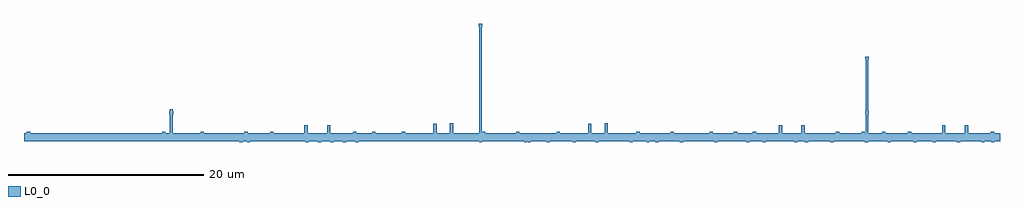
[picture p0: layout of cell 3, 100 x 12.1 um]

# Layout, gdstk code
import gdstk
lib = gdstk.Library(unit=1e-6, precision=1e-09)
def P(c, l, *ps):  # polygons
    for p in ps: c.add(gdstk.Polygon(p, *l))
L0_0 = (0, 0)

c_3 = lib.new_cell('3')
P(c_3, L0_0, [(900,900.88),(1000,900.88),(1000,900.08),(900,900.08),(900,900.88)],
  [(966.24,900.88),(966.24,900.08),(965.58,900.08),(965.58,900.88),(966.24,900.88)],
  [(950.4,900.88),(950.4,900.08),(949.74,900.08),(949.74,900.88),(950.4,900.88)],
  [(918.44,900.88),(919.38,900.88),(919.38,900.08),(915.42,900.08),(915.42,900.88),(918.1,900.88),(918.1,901.055),(918.44,901.055),(918.44,900.88)],
  [(970.58,900.88),(971.52,900.88),(971.52,900.08),(967.56,900.08),(967.56,900.88),(970.24,900.88),(970.24,901.055),(970.58,901.055),(970.58,900.88)],
  [(929.07,901.72),(929.07,900.88),(931.055,900.88),(931.055,901.715),(931.395,901.715),(931.395,900.88),(933.71,900.88),(933.71,901.055),(934.05,901.055),(934.05,900.88),(935.665,900.88),(935.665,901.055),(936.005,901.055),(936.005,900.88),(937.2,900.88),(937.2,900.08),(922.02,900.08),(922.02,900.88),(922.57,900.88),(922.57,901.055),(922.91,901.055),(922.91,900.88),(925.21,900.88),(925.21,901.055),(925.55,901.055),(925.55,900.88),(928.73,900.88),(928.73,901.72),(929.07,901.72)],
  [(986.7,900.88),(987.36,900.88),(987.36,900.08),(986.7,900.08),(986.7,900.88)],
  [(910.8,900.88),(911.46,900.88),(911.46,900.08),(910.8,900.08),(910.8,900.88)],
  [(914.48,900.88),(915.42,900.88),(915.42,900.08),(911.46,900.08),(911.46,900.88),(914.14,900.88),(914.14,901.055),(914.48,901.055),(914.48,900.88)],
  [(927.3,900.88),(927.3,900.08),(925.98,900.08),(925.98,900.88),(927.3,900.88)],
  [(919.38,900.88),(919.38,900.08),(918.06,900.08),(918.06,900.88),(919.38,900.88)],
  [(949.74,900.88),(949.74,900.08),(948.42,900.08),(948.42,900.88),(949.74,900.88)],
  [(900,900.88),(900.28,900.88),(900.28,901.055),(900.62,901.055),(900.62,900.88),(901.56,900.88),(901.56,900.08),(900,900.08),(900,900.88)],
  [(918.06,900.88),(918.06,900.08),(912.78,900.08),(912.78,900.88),(918.06,900.88)],
  [(901.56,900.88),(906.84,900.88),(906.84,900.08),(901.56,900.08),(901.56,900.88)],
  [(978.9,900),(978.9,900.08),(976.01,900.08),(976.01,900),(975.67,900),(975.67,900.08),(974.32,900.08),(974.32,900),(973.98,900),(973.98,900.08),(971.05,900.08),(971.05,900),(970.71,900),(970.71,900.08),(967.55,900.08),(967.55,900),(967.21,900),(967.21,900.08),(966.24,900.08),(966.24,900.88),(979.44,900.88),(979.44,900.08),(979.24,900.08),(979.24,900),(978.9,900)],
  [(979.99,900.88),(983.17,900.88),(983.17,901.055),(983.51,901.055),(983.51,900.88),(985.81,900.88),(985.81,901.055),(986.15,901.055),(986.15,900.88),(986.7,900.88),(986.7,900.08),(971.52,900.08),(971.52,900.88),(972.715,900.88),(972.715,901.055),(973.055,901.055),(973.055,900.88),(974.67,900.88),(974.67,901.055),(975.01,901.055),(975.01,900.88),(977.325,900.88),(977.325,901.715),(977.665,901.715),(977.665,900.88),(979.65,900.88),(979.65,901.72),(979.99,901.72),(979.99,900.88)],
  [(959.82,901.95),(959.82,900.88),(962.75,900.88),(962.75,901.055),(963.09,901.055),(963.09,900.88),(966.25,900.88),(966.25,901.055),(966.59,901.055),(966.59,900.88),(967.56,900.88),(967.56,900.08),(954.36,900.08),(954.36,900.88),(954.56,900.88),(954.56,901.055),(954.9,901.055),(954.9,900.88),(957.79,900.88),(957.79,901.86),(958.13,901.86),(958.13,900.88),(959.48,900.88),(959.48,901.95),(959.82,901.95)],
  [(909.48,900.88),(910.8,900.88),(910.8,900.08),(909.48,900.08),(909.48,900.88)],
  [(922.06,900),(922.06,900.08),(919.38,900.08),(919.38,900.88),(923.34,900.88),(923.34,900.08),(922.4,900.08),(922.4,900),(922.06,900)],
  [(937.2,900.88),(938.52,900.88),(938.52,900.08),(937.2,900.08),(937.2,900.88)],
  [(964.69,900),(964.69,900.08),(962.39,900.08),(962.39,900),(962.05,900),(962.05,900.08),(958.87,900.08),(958.87,900),(958.53,900),(958.53,900.08),(956.545,900.08),(956.545,900),(956.205,900),(956.205,900.08),(953.89,900.08),(953.89,900),(953.55,900),(953.55,900.08),(951.935,900.08),(951.935,900),(951.595,900),(951.595,900.08),(950.4,900.08),(950.4,900.88),(965.58,900.88),(965.58,900.08),(965.03,900.08),(965.03,900),(964.69,900)],
  [(993.085,900),(993.085,900.08),(991.47,900.08),(991.47,900),(991.13,900),(991.13,900.08),(988.815,900.08),(988.815,900),(988.475,900),(988.475,900.08),(986.49,900.08),(986.49,900),(986.15,900),(986.15,900.08),(982.97,900.08),(982.97,900),(982.63,900),(982.63,900.08),(980.33,900.08),(980.33,900),(979.99,900),(979.99,900.08),(979.44,900.08),(979.44,900.88),(994.62,900.88),(994.62,900.08),(993.425,900.08),(993.425,900),(993.085,900)],
  [(948.42,900.88),(948.42,900.08),(937.86,900.08),(937.86,900.88),(948.42,900.88)],
  [(925.98,900.88),(925.98,900.08),(923.34,900.08),(923.34,900.88),(925.98,900.88)],
  [(933.96,900),(933.96,900.08),(933.02,900.08),(933.02,900),(932.68,900),(932.68,900.08),(931.74,900.08),(931.74,900),(931.4,900),(931.4,900.08),(930.46,900.08),(930.46,900),(930.12,900),(930.12,900.08),(929.18,900.08),(929.18,900),(928.84,900),(928.84,900.08),(927.3,900.08),(927.3,900.88),(937.86,900.88),(937.86,900.08),(934.3,900.08),(934.3,900),(933.96,900)],
  [(1000,900.08),(999.43,900.08),(999.43,900),(999.09,900),(999.09,900.08),(995.93,900.08),(995.93,900),(995.59,900),(995.59,900.08),(994.62,900.08),(994.62,900.88),(1000,900.88),(1000,900.08)],
  [(1000,900.08),(987.36,900.08),(987.36,900.88),(987.91,900.88),(987.91,901.055),(988.25,901.055),(988.25,900.88),(990.55,900.88),(990.55,901.055),(990.89,901.055),(990.89,900.88),(994.07,900.88),(994.07,901.72),(994.41,901.72),(994.41,900.88),(996.395,900.88),(996.395,901.715),(996.735,901.715),(996.735,900.88),(999.05,900.88),(999.05,901.055),(999.39,901.055),(999.39,900.88),(1000,900.88),(1000,900.08)],
  [(951.72,900.88),(954.36,900.88),(954.36,900.08),(951.72,900.08),(951.72,900.88)],
  [(919.38,900.88),(922.02,900.88),(922.02,900.08),(919.38,900.08),(919.38,900.88)],
  [(906.84,900.88),(909.48,900.88),(909.48,900.08),(906.84,900.08),(906.84,900.88)],
  [(943.98,901.95),(943.98,900.88),(946.91,900.88),(946.91,901.055),(947.25,901.055),(947.25,900.88),(950.41,900.88),(950.41,901.055),(950.75,901.055),(950.75,900.88),(951.72,900.88),(951.72,900.08),(938.52,900.08),(938.52,900.88),(938.72,900.88),(938.72,901.055),(939.06,901.055),(939.06,900.88),(941.95,900.88),(941.95,901.86),(942.29,901.86),(942.29,900.88),(943.64,900.88),(943.64,901.95),(943.98,901.95)],
  [(900,900.88),(912.78,900.88),(912.78,900.08),(900,900.08),(900,900.88)],
  [(901.56,900.88),(906.84,900.88),(906.84,900.08),(901.56,900.08),(901.56,900.88)],
  [(933.96,900),(933.96,900.08),(933.02,900.08),(933.02,900),(932.68,900),(932.68,900.08),(931.74,900.08),(931.74,900),(931.4,900),(931.4,900.08),(930.46,900.08),(930.46,900),(930.12,900),(930.12,900.08),(929.18,900.08),(929.18,900),(928.84,900),(928.84,900.08),(927.3,900.08),(927.3,900.88),(937.86,900.88),(937.86,900.08),(934.3,900.08),(934.3,900),(933.96,900)],
  [(910.8,900.88),(911.46,900.88),(911.46,900.08),(910.8,900.08),(910.8,900.88)],
  [(914.48,900.88),(915.42,900.88),(915.42,900.08),(911.46,900.08),(911.46,900.88),(914.14,900.88),(914.14,901.055),(914.48,901.055),(914.48,900.88)],
  [(927.3,900.88),(927.3,900.08),(925.98,900.08),(925.98,900.88),(927.3,900.88)],
  [(919.38,900.88),(919.38,900.08),(918.06,900.08),(918.06,900.88),(919.38,900.88)],
  [(909.48,900.88),(910.8,900.88),(910.8,900.08),(909.48,900.08),(909.48,900.88)],
  [(922.06,900),(922.06,900.08),(919.38,900.08),(919.38,900.88),(923.34,900.88),(923.34,900.08),(922.4,900.08),(922.4,900),(922.06,900)],
  [(900,900.88),(900.28,900.88),(900.28,901.055),(900.62,901.055),(900.62,900.88),(901.56,900.88),(901.56,900.08),(900,900.08),(900,900.88)],
  [(918.06,900.88),(918.06,900.08),(912.78,900.08),(912.78,900.88),(918.06,900.88)],
  [(918.44,900.88),(919.38,900.88),(919.38,900.08),(915.42,900.08),(915.42,900.88),(918.1,900.88),(918.1,901.055),(918.44,901.055),(918.44,900.88)],
  [(919.38,900.88),(922.02,900.88),(922.02,900.08),(919.38,900.08),(919.38,900.88)],
  [(906.84,900.88),(909.48,900.88),(909.48,900.08),(906.84,900.08),(906.84,900.88)],
  [(925.98,900.88),(925.98,900.08),(923.34,900.08),(923.34,900.88),(925.98,900.88)],
  [(900,900.88),(912.78,900.88),(912.78,900.08),(900,900.08),(900,900.88)],
  [(929.07,901.72),(929.07,900.88),(931.055,900.88),(931.055,901.715),(931.395,901.715),(931.395,900.88),(933.71,900.88),(933.71,901.055),(934.05,901.055),(934.05,900.88),(935.665,900.88),(935.665,901.055),(936.005,901.055),(936.005,900.88),(937.2,900.88),(937.2,900.08),(922.02,900.08),(922.02,900.88),(922.57,900.88),(922.57,901.055),(922.91,901.055),(922.91,900.88),(925.21,900.88),(925.21,901.055),(925.55,901.055),(925.55,900.88),(928.73,900.88),(928.73,901.72),(929.07,901.72)],
  [(986.7,900.88),(987.36,900.88),(987.36,900.08),(986.7,900.08),(986.7,900.88)],
  [(1000,900.08),(999.43,900.08),(999.43,900),(999.09,900),(999.09,900.08),(995.93,900.08),(995.93,900),(995.59,900),(995.59,900.08),(994.62,900.08),(994.62,900.88),(1000,900.88),(1000,900.08)],
  [(1000,900.08),(987.36,900.08),(987.36,900.88),(987.91,900.88),(987.91,901.055),(988.25,901.055),(988.25,900.88),(990.55,900.88),(990.55,901.055),(990.89,901.055),(990.89,900.88),(994.07,900.88),(994.07,901.72),(994.41,901.72),(994.41,900.88),(996.395,900.88),(996.395,901.715),(996.735,901.715),(996.735,900.88),(999.05,900.88),(999.05,901.055),(999.39,901.055),(999.39,900.88),(1000,900.88),(1000,900.08)],
  [(978.9,900),(978.9,900.08),(976.01,900.08),(976.01,900),(975.67,900),(975.67,900.08),(974.32,900.08),(974.32,900),(973.98,900),(973.98,900.08),(971.05,900.08),(971.05,900),(970.71,900),(970.71,900.08),(967.55,900.08),(967.55,900),(967.21,900),(967.21,900.08),(966.24,900.08),(966.24,900.88),(979.44,900.88),(979.44,900.08),(979.24,900.08),(979.24,900),(978.9,900)],
  [(966.24,900.88),(966.24,900.08),(965.58,900.08),(965.58,900.88),(966.24,900.88)],
  [(959.82,901.95),(959.82,900.88),(962.75,900.88),(962.75,901.055),(963.09,901.055),(963.09,900.88),(966.25,900.88),(966.25,901.055),(966.59,901.055),(966.59,900.88),(967.56,900.88),(967.56,900.08),(954.36,900.08),(954.36,900.88),(954.56,900.88),(954.56,901.055),(954.9,901.055),(954.9,900.88),(957.79,900.88),(957.79,901.86),(958.13,901.86),(958.13,900.88),(959.48,900.88),(959.48,901.95),(959.82,901.95)],
  [(979.99,900.88),(983.17,900.88),(983.17,901.055),(983.51,901.055),(983.51,900.88),(985.81,900.88),(985.81,901.055),(986.15,901.055),(986.15,900.88),(986.7,900.88),(986.7,900.08),(971.52,900.08),(971.52,900.88),(972.715,900.88),(972.715,901.055),(973.055,901.055),(973.055,900.88),(974.67,900.88),(974.67,901.055),(975.01,901.055),(975.01,900.88),(977.325,900.88),(977.325,901.715),(977.665,901.715),(977.665,900.88),(979.65,900.88),(979.65,901.72),(979.99,901.72),(979.99,900.88)],
  [(951.72,900.88),(954.36,900.88),(954.36,900.08),(951.72,900.08),(951.72,900.88)],
  [(964.69,900),(964.69,900.08),(962.39,900.08),(962.39,900),(962.05,900),(962.05,900.08),(958.87,900.08),(958.87,900),(958.53,900),(958.53,900.08),(956.545,900.08),(956.545,900),(956.205,900),(956.205,900.08),(953.89,900.08),(953.89,900),(953.55,900),(953.55,900.08),(951.935,900.08),(951.935,900),(951.595,900),(951.595,900.08),(950.4,900.08),(950.4,900.88),(965.58,900.88),(965.58,900.08),(965.03,900.08),(965.03,900),(964.69,900)],
  [(993.085,900),(993.085,900.08),(991.47,900.08),(991.47,900),(991.13,900),(991.13,900.08),(988.815,900.08),(988.815,900),(988.475,900),(988.475,900.08),(986.49,900.08),(986.49,900),(986.15,900),(986.15,900.08),(982.97,900.08),(982.97,900),(982.63,900),(982.63,900.08),(980.33,900.08),(980.33,900),(979.99,900),(979.99,900.08),(979.44,900.08),(979.44,900.88),(994.62,900.88),(994.62,900.08),(993.425,900.08),(993.425,900),(993.085,900)],
  [(943.98,901.95),(943.98,900.88),(946.91,900.88),(946.91,901.055),(947.25,901.055),(947.25,900.88),(950.41,900.88),(950.41,901.055),(950.75,901.055),(950.75,900.88),(951.72,900.88),(951.72,900.08),(938.52,900.08),(938.52,900.88),(938.72,900.88),(938.72,901.055),(939.06,901.055),(939.06,900.88),(941.95,900.88),(941.95,901.86),(942.29,901.86),(942.29,900.88),(943.64,900.88),(943.64,901.95),(943.98,901.95)],
  [(970.58,900.88),(971.52,900.88),(971.52,900.08),(967.56,900.08),(967.56,900.88),(970.24,900.88),(970.24,901.055),(970.58,901.055),(970.58,900.88)],
  [(901.56,900.88),(906.84,900.88),(906.84,900.08),(901.56,900.08),(901.56,900.88)],
  [(910.8,900.88),(911.46,900.88),(911.46,900.08),(910.8,900.08),(910.8,900.88)],
  [(914.48,900.88),(915.42,900.88),(915.42,900.08),(911.46,900.08),(911.46,900.88),(914.14,900.88),(914.14,901.055),(914.48,901.055),(914.48,900.88)],
  [(909.48,900.88),(910.8,900.88),(910.8,900.08),(909.48,900.08),(909.48,900.88)],
  [(900,900.88),(900.28,900.88),(900.28,901.055),(900.62,901.055),(900.62,900.88),(901.56,900.88),(901.56,900.08),(900,900.08),(900,900.88)],
  [(918.06,900.88),(918.06,900.08),(912.78,900.08),(912.78,900.88),(918.06,900.88)],
  [(906.84,900.88),(909.48,900.88),(909.48,900.08),(906.84,900.08),(906.84,900.88)],
  [(900,900.88),(912.78,900.88),(912.78,900.08),(900,900.08),(900,900.88)],
  [(901.56,900.88),(906.84,900.88),(906.84,900.08),(901.56,900.08),(901.56,900.88)],
  [(910.8,900.88),(911.46,900.88),(911.46,900.08),(910.8,900.08),(910.8,900.88)],
  [(909.48,900.88),(910.8,900.88),(910.8,900.08),(909.48,900.08),(909.48,900.88)],
  [(900,900.88),(900.28,900.88),(900.28,901.055),(900.62,901.055),(900.62,900.88),(901.56,900.88),(901.56,900.08),(900,900.08),(900,900.88)],
  [(918.06,900.88),(918.06,900.08),(912.78,900.08),(912.78,900.88),(918.06,900.88)],
  [(906.84,900.88),(909.48,900.88),(909.48,900.08),(906.84,900.08),(906.84,900.88)],
  [(900,900.88),(912.78,900.88),(912.78,900.08),(900,900.08),(900,900.88)],
  [(933.96,900),(933.96,900.08),(933.02,900.08),(933.02,900),(932.68,900),(932.68,900.08),(931.74,900.08),(931.74,900),(931.4,900),(931.4,900.08),(930.46,900.08),(930.46,900),(930.12,900),(930.12,900.08),(929.18,900.08),(929.18,900),(928.84,900),(928.84,900.08),(927.3,900.08),(927.3,900.88),(937.86,900.88),(937.86,900.08),(934.3,900.08),(934.3,900),(933.96,900)],
  [(927.3,900.88),(927.3,900.08),(925.98,900.08),(925.98,900.88),(927.3,900.88)],
  [(919.38,900.88),(919.38,900.08),(918.06,900.08),(918.06,900.88),(919.38,900.88)],
  [(937.2,900.88),(938.52,900.88),(938.52,900.08),(937.2,900.08),(937.2,900.88)],
  [(922.06,900),(922.06,900.08),(919.38,900.08),(919.38,900.88),(923.34,900.88),(923.34,900.08),(922.4,900.08),(922.4,900),(922.06,900)],
  [(919.38,900.88),(922.02,900.88),(922.02,900.08),(919.38,900.08),(919.38,900.88)],
  [(925.98,900.88),(925.98,900.08),(923.34,900.08),(923.34,900.88),(925.98,900.88)],
  [(948.42,900.88),(948.42,900.08),(937.86,900.08),(937.86,900.88),(948.42,900.88)],
  [(929.07,901.72),(929.07,900.88),(931.055,900.88),(931.055,901.715),(931.395,901.715),(931.395,900.88),(933.71,900.88),(933.71,901.055),(934.05,901.055),(934.05,900.88),(935.665,900.88),(935.665,901.055),(936.005,901.055),(936.005,900.88),(937.2,900.88),(937.2,900.08),(922.02,900.08),(922.02,900.88),(922.57,900.88),(922.57,901.055),(922.91,901.055),(922.91,900.88),(925.21,900.88),(925.21,901.055),(925.55,901.055),(925.55,900.88),(928.73,900.88),(928.73,901.72),(929.07,901.72)],
  [(986.7,900.88),(987.36,900.88),(987.36,900.08),(986.7,900.08),(986.7,900.88)],
  [(1000,900.08),(999.43,900.08),(999.43,900),(999.09,900),(999.09,900.08),(995.93,900.08),(995.93,900),(995.59,900),(995.59,900.08),(994.62,900.08),(994.62,900.88),(1000,900.88),(1000,900.08)],
  [(1000,900.08),(987.36,900.08),(987.36,900.88),(987.91,900.88),(987.91,901.055),(988.25,901.055),(988.25,900.88),(990.55,900.88),(990.55,901.055),(990.89,901.055),(990.89,900.88),(994.07,900.88),(994.07,901.72),(994.41,901.72),(994.41,900.88),(996.395,900.88),(996.395,901.715),(996.735,901.715),(996.735,900.88),(999.05,900.88),(999.05,901.055),(999.39,901.055),(999.39,900.88),(1000,900.88),(1000,900.08)],
  [(978.9,900),(978.9,900.08),(976.01,900.08),(976.01,900),(975.67,900),(975.67,900.08),(974.32,900.08),(974.32,900),(973.98,900),(973.98,900.08),(971.05,900.08),(971.05,900),(970.71,900),(970.71,900.08),(967.55,900.08),(967.55,900),(967.21,900),(967.21,900.08),(966.24,900.08),(966.24,900.88),(979.44,900.88),(979.44,900.08),(979.24,900.08),(979.24,900),(978.9,900)],
  [(966.24,900.88),(966.24,900.08),(965.58,900.08),(965.58,900.88),(966.24,900.88)],
  [(959.82,901.95),(959.82,900.88),(962.75,900.88),(962.75,901.055),(963.09,901.055),(963.09,900.88),(966.25,900.88),(966.25,901.055),(966.59,901.055),(966.59,900.88),(967.56,900.88),(967.56,900.08),(954.36,900.08),(954.36,900.88),(954.56,900.88),(954.56,901.055),(954.9,901.055),(954.9,900.88),(957.79,900.88),(957.79,901.86),(958.13,901.86),(958.13,900.88),(959.48,900.88),(959.48,901.95),(959.82,901.95)],
  [(979.99,900.88),(983.17,900.88),(983.17,901.055),(983.51,901.055),(983.51,900.88),(985.81,900.88),(985.81,901.055),(986.15,901.055),(986.15,900.88),(986.7,900.88),(986.7,900.08),(971.52,900.08),(971.52,900.88),(972.715,900.88),(972.715,901.055),(973.055,901.055),(973.055,900.88),(974.67,900.88),(974.67,901.055),(975.01,901.055),(975.01,900.88),(977.325,900.88),(977.325,901.715),(977.665,901.715),(977.665,900.88),(979.65,900.88),(979.65,901.72),(979.99,901.72),(979.99,900.88)],
  [(951.72,900.88),(954.36,900.88),(954.36,900.08),(951.72,900.08),(951.72,900.88)],
  [(964.69,900),(964.69,900.08),(962.39,900.08),(962.39,900),(962.05,900),(962.05,900.08),(958.87,900.08),(958.87,900),(958.53,900),(958.53,900.08),(956.545,900.08),(956.545,900),(956.205,900),(956.205,900.08),(953.89,900.08),(953.89,900),(953.55,900),(953.55,900.08),(951.935,900.08),(951.935,900),(951.595,900),(951.595,900.08),(950.4,900.08),(950.4,900.88),(965.58,900.88),(965.58,900.08),(965.03,900.08),(965.03,900),(964.69,900)],
  [(993.085,900),(993.085,900.08),(991.47,900.08),(991.47,900),(991.13,900),(991.13,900.08),(988.815,900.08),(988.815,900),(988.475,900),(988.475,900.08),(986.49,900.08),(986.49,900),(986.15,900),(986.15,900.08),(982.97,900.08),(982.97,900),(982.63,900),(982.63,900.08),(980.33,900.08),(980.33,900),(979.99,900),(979.99,900.08),(979.44,900.08),(979.44,900.88),(994.62,900.88),(994.62,900.08),(993.425,900.08),(993.425,900),(993.085,900)],
  [(943.98,901.95),(943.98,900.88),(946.91,900.88),(946.91,901.055),(947.25,901.055),(947.25,900.88),(950.41,900.88),(950.41,901.055),(950.75,901.055),(950.75,900.88),(951.72,900.88),(951.72,900.08),(938.52,900.08),(938.52,900.88),(938.72,900.88),(938.72,901.055),(939.06,901.055),(939.06,900.88),(941.95,900.88),(941.95,901.86),(942.29,901.86),(942.29,900.88),(943.64,900.88),(943.64,901.95),(943.98,901.95)],
  [(986.7,900.88),(987.36,900.88),(987.36,900.08),(986.7,900.08),(986.7,900.88)],
  [(1000,900.08),(999.43,900.08),(999.43,900),(999.09,900),(999.09,900.08),(995.93,900.08),(995.93,900),(995.59,900),(995.59,900.08),(994.62,900.08),(994.62,900.88),(1000,900.88),(1000,900.08)],
  [(1000,900.08),(987.36,900.08),(987.36,900.88),(987.91,900.88),(987.91,901.055),(988.25,901.055),(988.25,900.88),(990.55,900.88),(990.55,901.055),(990.89,901.055),(990.89,900.88),(994.07,900.88),(994.07,901.72),(994.41,901.72),(994.41,900.88),(996.395,900.88),(996.395,901.715),(996.735,901.715),(996.735,900.88),(999.05,900.88),(999.05,901.055),(999.39,901.055),(999.39,900.88),(1000,900.88),(1000,900.08)],
  [(979.99,900.88),(983.17,900.88),(983.17,901.055),(983.51,901.055),(983.51,900.88),(985.81,900.88),(985.81,901.055),(986.15,901.055),(986.15,900.88),(986.7,900.88),(986.7,900.08),(971.52,900.08),(971.52,900.88),(972.715,900.88),(972.715,901.055),(973.055,901.055),(973.055,900.88),(974.67,900.88),(974.67,901.055),(975.01,901.055),(975.01,900.88),(977.325,900.88),(977.325,901.715),(977.665,901.715),(977.665,900.88),(979.65,900.88),(979.65,901.72),(979.99,901.72),(979.99,900.88)],
  [(993.085,900),(993.085,900.08),(991.47,900.08),(991.47,900),(991.13,900),(991.13,900.08),(988.815,900.08),(988.815,900),(988.475,900),(988.475,900.08),(986.49,900.08),(986.49,900),(986.15,900),(986.15,900.08),(982.97,900.08),(982.97,900),(982.63,900),(982.63,900.08),(980.33,900.08),(980.33,900),(979.99,900),(979.99,900.08),(979.44,900.08),(979.44,900.88),(994.62,900.88),(994.62,900.08),(993.425,900.08),(993.425,900),(993.085,900)],
  [(949.74,900.88),(949.74,900.08),(948.42,900.08),(948.42,900.88),(949.74,900.88)],
  [(937.2,900.88),(938.52,900.88),(938.52,900.08),(937.2,900.08),(937.2,900.88)],
  [(959.82,901.95),(959.82,900.88),(962.75,900.88),(962.75,901.055),(963.09,901.055),(963.09,900.88),(966.25,900.88),(966.25,901.055),(966.59,901.055),(966.59,900.88),(967.56,900.88),(967.56,900.08),(954.36,900.08),(954.36,900.88),(954.56,900.88),(954.56,901.055),(954.9,901.055),(954.9,900.88),(957.79,900.88),(957.79,901.86),(958.13,901.86),(958.13,900.88),(959.48,900.88),(959.48,901.95),(959.82,901.95)],
  [(950.4,900.88),(950.4,900.08),(949.74,900.08),(949.74,900.88),(950.4,900.88)],
  [(966.24,900.88),(966.24,900.08),(965.58,900.08),(965.58,900.88),(966.24,900.88)],
  [(951.72,900.88),(954.36,900.88),(954.36,900.08),(951.72,900.08),(951.72,900.88)],
  [(964.69,900),(964.69,900.08),(962.39,900.08),(962.39,900),(962.05,900),(962.05,900.08),(958.87,900.08),(958.87,900),(958.53,900),(958.53,900.08),(956.545,900.08),(956.545,900),(956.205,900),(956.205,900.08),(953.89,900.08),(953.89,900),(953.55,900),(953.55,900.08),(951.935,900.08),(951.935,900),(951.595,900),(951.595,900.08),(950.4,900.08),(950.4,900.88),(965.58,900.88),(965.58,900.08),(965.03,900.08),(965.03,900),(964.69,900)],
  [(948.42,900.88),(948.42,900.08),(937.86,900.08),(937.86,900.88),(948.42,900.88)],
  [(943.98,901.95),(943.98,900.88),(946.91,900.88),(946.91,901.055),(947.25,901.055),(947.25,900.88),(950.41,900.88),(950.41,901.055),(950.75,901.055),(950.75,900.88),(951.72,900.88),(951.72,900.08),(938.52,900.08),(938.52,900.88),(938.72,900.88),(938.72,901.055),(939.06,901.055),(939.06,900.88),(941.95,900.88),(941.95,901.86),(942.29,901.86),(942.29,900.88),(943.64,900.88),(943.64,901.95),(943.98,901.95)],
  [(933.96,900),(933.96,900.08),(933.02,900.08),(933.02,900),(932.68,900),(932.68,900.08),(931.74,900.08),(931.74,900),(931.4,900),(931.4,900.08),(930.46,900.08),(930.46,900),(930.12,900),(930.12,900.08),(929.18,900.08),(929.18,900),(928.84,900),(928.84,900.08),(927.3,900.08),(927.3,900.88),(937.86,900.88),(937.86,900.08),(934.3,900.08),(934.3,900),(933.96,900)],
  [(949.74,900.88),(949.74,900.08),(948.42,900.08),(948.42,900.88),(949.74,900.88)],
  [(927.3,900.88),(927.3,900.08),(925.98,900.08),(925.98,900.88),(927.3,900.88)],
  [(966.24,900.88),(966.24,900.08),(965.58,900.08),(965.58,900.88),(966.24,900.88)],
  [(937.2,900.88),(938.52,900.88),(938.52,900.08),(937.2,900.08),(937.2,900.88)],
  [(950.4,900.88),(950.4,900.08),(949.74,900.08),(949.74,900.88),(950.4,900.88)],
  [(951.72,900.88),(954.36,900.88),(954.36,900.08),(951.72,900.08),(951.72,900.88)],
  [(964.69,900),(964.69,900.08),(962.39,900.08),(962.39,900),(962.05,900),(962.05,900.08),(958.87,900.08),(958.87,900),(958.53,900),(958.53,900.08),(956.545,900.08),(956.545,900),(956.205,900),(956.205,900.08),(953.89,900.08),(953.89,900),(953.55,900),(953.55,900.08),(951.935,900.08),(951.935,900),(951.595,900),(951.595,900.08),(950.4,900.08),(950.4,900.88),(965.58,900.88),(965.58,900.08),(965.03,900.08),(965.03,900),(964.69,900)],
  [(948.42,900.88),(948.42,900.08),(937.86,900.08),(937.86,900.88),(948.42,900.88)],
  [(943.98,901.95),(943.98,900.88),(946.91,900.88),(946.91,901.055),(947.25,901.055),(947.25,900.88),(950.41,900.88),(950.41,901.055),(950.75,901.055),(950.75,900.88),(951.72,900.88),(951.72,900.08),(938.52,900.08),(938.52,900.88),(938.72,900.88),(938.72,901.055),(939.06,901.055),(939.06,900.88),(941.95,900.88),(941.95,901.86),(942.29,901.86),(942.29,900.88),(943.64,900.88),(943.64,901.95),(943.98,901.95)],
  [(929.07,901.72),(929.07,900.88),(931.055,900.88),(931.055,901.715),(931.395,901.715),(931.395,900.88),(933.71,900.88),(933.71,901.055),(934.05,901.055),(934.05,900.88),(935.665,900.88),(935.665,901.055),(936.005,901.055),(936.005,900.88),(937.2,900.88),(937.2,900.08),(922.02,900.08),(922.02,900.88),(922.57,900.88),(922.57,901.055),(922.91,901.055),(922.91,900.88),(925.21,900.88),(925.21,901.055),(925.55,901.055),(925.55,900.88),(928.73,900.88),(928.73,901.72),(929.07,901.72)],
  [(901.56,900.88),(906.84,900.88),(906.84,900.08),(901.56,900.08),(901.56,900.88)],
  [(910.8,900.88),(911.46,900.88),(911.46,900.08),(910.8,900.08),(910.8,900.88)],
  [(909.48,900.88),(910.8,900.88),(910.8,900.08),(909.48,900.08),(909.48,900.88)],
  [(918.06,900.88),(918.06,900.08),(912.78,900.08),(912.78,900.88),(918.06,900.88)],
  [(906.84,900.88),(909.48,900.88),(909.48,900.08),(906.84,900.08),(906.84,900.88)],
  [(900,900.88),(912.78,900.88),(912.78,900.08),(900,900.08),(900,900.88)],
  [(933.96,900),(933.96,900.08),(933.02,900.08),(933.02,900),(932.68,900),(932.68,900.08),(931.74,900.08),(931.74,900),(931.4,900),(931.4,900.08),(930.46,900.08),(930.46,900),(930.12,900),(930.12,900.08),(929.18,900.08),(929.18,900),(928.84,900),(928.84,900.08),(927.3,900.08),(927.3,900.88),(937.86,900.88),(937.86,900.08),(934.3,900.08),(934.3,900),(933.96,900)],
  [(927.3,900.88),(927.3,900.08),(925.98,900.08),(925.98,900.88),(927.3,900.88)],
  [(919.38,900.88),(919.38,900.08),(918.06,900.08),(918.06,900.88),(919.38,900.88)],
  [(937.2,900.88),(938.52,900.88),(938.52,900.08),(937.2,900.08),(937.2,900.88)],
  [(919.38,900.88),(922.02,900.88),(922.02,900.08),(919.38,900.08),(919.38,900.88)],
  [(948.42,900.88),(948.42,900.08),(937.86,900.08),(937.86,900.88),(948.42,900.88)],
  [(929.07,901.72),(929.07,900.88),(931.055,900.88),(931.055,901.715),(931.395,901.715),(931.395,900.88),(933.71,900.88),(933.71,901.055),(934.05,901.055),(934.05,900.88),(935.665,900.88),(935.665,901.055),(936.005,901.055),(936.005,900.88),(937.2,900.88),(937.2,900.08),(922.02,900.08),(922.02,900.88),(922.57,900.88),(922.57,901.055),(922.91,901.055),(922.91,900.88),(925.21,900.88),(925.21,901.055),(925.55,901.055),(925.55,900.88),(928.73,900.88),(928.73,901.72),(929.07,901.72)],
  [(925.98,900.88),(925.98,900.08),(923.34,900.08),(923.34,900.88),(925.98,900.88)],
  [(964.69,900),(964.69,900.08),(962.39,900.08),(962.39,900),(962.05,900),(962.05,900.08),(958.87,900.08),(958.87,900),(958.53,900),(958.53,900.08),(956.545,900.08),(956.545,900),(956.205,900),(956.205,900.08),(953.89,900.08),(953.89,900),(953.55,900),(953.55,900.08),(951.935,900.08),(951.935,900),(951.595,900),(951.595,900.08),(950.4,900.08),(950.4,900.88),(965.58,900.88),(965.58,900.08),(965.03,900.08),(965.03,900),(964.69,900)],
  [(951.72,900.88),(954.36,900.88),(954.36,900.08),(951.72,900.08),(951.72,900.88)],
  [(933.96,900),(933.96,900.08),(933.02,900.08),(933.02,900),(932.68,900),(932.68,900.08),(931.74,900.08),(931.74,900),(931.4,900),(931.4,900.08),(930.46,900.08),(930.46,900),(930.12,900),(930.12,900.08),(929.18,900.08),(929.18,900),(928.84,900),(928.84,900.08),(927.3,900.08),(927.3,900.88),(937.86,900.88),(937.86,900.08),(934.3,900.08),(934.3,900),(933.96,900)],
  [(927.3,900.88),(927.3,900.08),(925.98,900.08),(925.98,900.88),(927.3,900.88)],
  [(919.38,900.88),(919.38,900.08),(918.06,900.08),(918.06,900.88),(919.38,900.88)],
  [(937.2,900.88),(938.52,900.88),(938.52,900.08),(937.2,900.08),(937.2,900.88)],
  [(919.38,900.88),(922.02,900.88),(922.02,900.08),(919.38,900.08),(919.38,900.88)],
  [(948.42,900.88),(948.42,900.08),(937.86,900.08),(937.86,900.88),(948.42,900.88)],
  [(929.07,901.72),(929.07,900.88),(931.055,900.88),(931.055,901.715),(931.395,901.715),(931.395,900.88),(933.71,900.88),(933.71,901.055),(934.05,901.055),(934.05,900.88),(935.665,900.88),(935.665,901.055),(936.005,901.055),(936.005,900.88),(937.2,900.88),(937.2,900.08),(922.02,900.08),(922.02,900.88),(922.57,900.88),(922.57,901.055),(922.91,901.055),(922.91,900.88),(925.21,900.88),(925.21,901.055),(925.55,901.055),(925.55,900.88),(928.73,900.88),(928.73,901.72),(929.07,901.72)],
  [(933.96,900),(933.96,900.08),(933.02,900.08),(933.02,900),(932.68,900),(932.68,900.08),(931.74,900.08),(931.74,900),(931.4,900),(931.4,900.08),(930.46,900.08),(930.46,900),(930.12,900),(930.12,900.08),(929.18,900.08),(929.18,900),(928.84,900),(928.84,900.08),(927.3,900.08),(927.3,900.88),(937.86,900.88),(937.86,900.08),(934.3,900.08),(934.3,900),(933.96,900)],
  [(927.3,900.88),(927.3,900.08),(925.98,900.08),(925.98,900.88),(927.3,900.88)],
  [(937.2,900.88),(938.52,900.88),(938.52,900.08),(937.2,900.08),(937.2,900.88)],
  [(948.42,900.88),(948.42,900.08),(937.86,900.08),(937.86,900.88),(948.42,900.88)],
  [(929.07,901.72),(929.07,900.88),(931.055,900.88),(931.055,901.715),(931.395,901.715),(931.395,900.88),(933.71,900.88),(933.71,901.055),(934.05,901.055),(934.05,900.88),(935.665,900.88),(935.665,901.055),(936.005,901.055),(936.005,900.88),(937.2,900.88),(937.2,900.08),(922.02,900.08),(922.02,900.88),(922.57,900.88),(922.57,901.055),(922.91,901.055),(922.91,900.88),(925.21,900.88),(925.21,901.055),(925.55,901.055),(925.55,900.88),(928.73,900.88),(928.73,901.72),(929.07,901.72)],
  [(937.2,900.88),(938.52,900.88),(938.52,900.08),(937.2,900.08),(937.2,900.88)],
  [(948.42,900.88),(948.42,900.08),(937.86,900.08),(937.86,900.88),(948.42,900.88)],
  [(933.96,900),(933.96,900.08),(933.02,900.08),(933.02,900),(932.68,900),(932.68,900.08),(931.74,900.08),(931.74,900),(931.4,900),(931.4,900.08),(930.46,900.08),(930.46,900),(930.12,900),(930.12,900.08),(929.18,900.08),(929.18,900),(928.84,900),(928.84,900.08),(927.3,900.08),(927.3,900.88),(937.86,900.88),(937.86,900.08),(934.3,900.08),(934.3,900),(933.96,900)],
  [(929.07,901.72),(929.07,900.88),(931.055,900.88),(931.055,901.715),(931.395,901.715),(931.395,900.88),(933.71,900.88),(933.71,901.055),(934.05,901.055),(934.05,900.88),(935.665,900.88),(935.665,901.055),(936.005,901.055),(936.005,900.88),(937.2,900.88),(937.2,900.08),(922.02,900.08),(922.02,900.88),(922.57,900.88),(922.57,901.055),(922.91,901.055),(922.91,900.88),(925.21,900.88),(925.21,901.055),(925.55,901.055),(925.55,900.88),(928.73,900.88),(928.73,901.72),(929.07,901.72)],
  [(948.42,900.88),(948.42,900.08),(937.86,900.08),(937.86,900.88),(948.42,900.88)],
  [(933.96,900),(933.96,900.08),(933.02,900.08),(933.02,900),(932.68,900),(932.68,900.08),(931.74,900.08),(931.74,900),(931.4,900),(931.4,900.08),(930.46,900.08),(930.46,900),(930.12,900),(930.12,900.08),(929.18,900.08),(929.18,900),(928.84,900),(928.84,900.08),(927.3,900.08),(927.3,900.88),(937.86,900.88),(937.86,900.08),(934.3,900.08),(934.3,900),(933.96,900)],
  [(964.69,900),(964.69,900.08),(962.39,900.08),(962.39,900),(962.05,900),(962.05,900.08),(958.87,900.08),(958.87,900),(958.53,900),(958.53,900.08),(956.545,900.08),(956.545,900),(956.205,900),(956.205,900.08),(953.89,900.08),(953.89,900),(953.55,900),(953.55,900.08),(951.935,900.08),(951.935,900),(951.595,900),(951.595,900.08),(950.4,900.08),(950.4,900.88),(965.58,900.88),(965.58,900.08),(965.03,900.08),(965.03,900),(964.69,900)],
  [(966.24,900.88),(966.24,900.08),(965.58,900.08),(965.58,900.88),(966.24,900.88)],
  [(979.99,900.88),(983.17,900.88),(983.17,901.055),(983.51,901.055),(983.51,900.88),(985.81,900.88),(985.81,901.055),(986.15,901.055),(986.15,900.88),(986.7,900.88),(986.7,900.08),(971.52,900.08),(971.52,900.88),(972.715,900.88),(972.715,901.055),(973.055,901.055),(973.055,900.88),(974.67,900.88),(974.67,901.055),(975.01,901.055),(975.01,900.88),(977.325,900.88),(977.325,901.715),(977.665,901.715),(977.665,900.88),(979.65,900.88),(979.65,901.72),(979.99,901.72),(979.99,900.88)],
  [(993.085,900),(993.085,900.08),(991.47,900.08),(991.47,900),(991.13,900),(991.13,900.08),(988.815,900.08),(988.815,900),(988.475,900),(988.475,900.08),(986.49,900.08),(986.49,900),(986.15,900),(986.15,900.08),(982.97,900.08),(982.97,900),(982.63,900),(982.63,900.08),(980.33,900.08),(980.33,900),(979.99,900),(979.99,900.08),(979.44,900.08),(979.44,900.88),(994.62,900.88),(994.62,900.08),(993.425,900.08),(993.425,900),(993.085,900)],
  [(986.7,900.88),(987.36,900.88),(987.36,900.08),(986.7,900.08),(986.7,900.88)],
  [(1000,900.08),(987.36,900.08),(987.36,900.88),(987.91,900.88),(987.91,901.055),(988.25,901.055),(988.25,900.88),(990.55,900.88),(990.55,901.055),(990.89,901.055),(990.89,900.88),(994.07,900.88),(994.07,901.72),(994.41,901.72),(994.41,900.88),(996.395,900.88),(996.395,901.715),(996.735,901.715),(996.735,900.88),(999.05,900.88),(999.05,901.055),(999.39,901.055),(999.39,900.88),(1000,900.88),(1000,900.08)],
  [(979.99,900.88),(983.17,900.88),(983.17,901.055),(983.51,901.055),(983.51,900.88),(985.81,900.88),(985.81,901.055),(986.15,901.055),(986.15,900.88),(986.7,900.88),(986.7,900.08),(971.52,900.08),(971.52,900.88),(972.715,900.88),(972.715,901.055),(973.055,901.055),(973.055,900.88),(974.67,900.88),(974.67,901.055),(975.01,901.055),(975.01,900.88),(977.325,900.88),(977.325,901.715),(977.665,901.715),(977.665,900.88),(979.65,900.88),(979.65,901.72),(979.99,901.72),(979.99,900.88)],
  [(993.085,900),(993.085,900.08),(991.47,900.08),(991.47,900),(991.13,900),(991.13,900.08),(988.815,900.08),(988.815,900),(988.475,900),(988.475,900.08),(986.49,900.08),(986.49,900),(986.15,900),(986.15,900.08),(982.97,900.08),(982.97,900),(982.63,900),(982.63,900.08),(980.33,900.08),(980.33,900),(979.99,900),(979.99,900.08),(979.44,900.08),(979.44,900.88),(994.62,900.88),(994.62,900.08),(993.425,900.08),(993.425,900),(993.085,900)],
  [(993.085,900),(993.085,900.08),(991.47,900.08),(991.47,900),(991.13,900),(991.13,900.08),(988.815,900.08),(988.815,900),(988.475,900),(988.475,900.08),(986.49,900.08),(986.49,900),(986.15,900),(986.15,900.08),(982.97,900.08),(982.97,900),(982.63,900),(982.63,900.08),(980.33,900.08),(980.33,900),(979.99,900),(979.99,900.08),(979.44,900.08),(979.44,900.88),(994.62,900.88),(994.62,900.08),(993.425,900.08),(993.425,900),(993.085,900)],
  [(1000,900.08),(987.36,900.08),(987.36,900.88),(987.91,900.88),(987.91,901.055),(988.25,901.055),(988.25,900.88),(990.55,900.88),(990.55,901.055),(990.89,901.055),(990.89,900.88),(994.07,900.88),(994.07,901.72),(994.41,901.72),(994.41,900.88),(996.395,900.88),(996.395,901.715),(996.735,901.715),(996.735,900.88),(999.05,900.88),(999.05,901.055),(999.39,901.055),(999.39,900.88),(1000,900.88),(1000,900.08)],
  [(933.96,900),(933.96,900.08),(933.02,900.08),(933.02,900),(932.68,900),(932.68,900.08),(931.74,900.08),(931.74,900),(931.4,900),(931.4,900.08),(930.46,900.08),(930.46,900),(930.12,900),(930.12,900.08),(929.18,900.08),(929.18,900),(928.84,900),(928.84,900.08),(927.3,900.08),(927.3,900.88),(937.86,900.88),(937.86,900.08),(934.3,900.08),(934.3,900),(933.96,900)],
  [(929.07,901.72),(929.07,900.88),(931.055,900.88),(931.055,901.715),(931.395,901.715),(931.395,900.88),(933.71,900.88),(933.71,901.055),(934.05,901.055),(934.05,900.88),(935.665,900.88),(935.665,901.055),(936.005,901.055),(936.005,900.88),(937.2,900.88),(937.2,900.08),(922.02,900.08),(922.02,900.88),(922.57,900.88),(922.57,901.055),(922.91,901.055),(922.91,900.88),(925.21,900.88),(925.21,901.055),(925.55,901.055),(925.55,900.88),(928.73,900.88),(928.73,901.72),(929.07,901.72)],
  [(986.18,900.34),(986.56,900.34),(986.56,900.06),(986.18,900.06),(986.18,900.34)],
  [(986.18,908.74),(986.56,908.74),(986.56,908.46),(986.18,908.46),(986.18,908.74)],
  [(986.23,900.06),(986.23,908.74),(986.51,908.74),(986.51,900.06),(986.23,900.06)],
  [(951.25,900),(951.25,900.9),(951.53,900.9),(951.53,900),(951.25,900)],
  [(951.2,900.9),(951.58,900.9),(951.58,900.62),(951.2,900.62),(951.2,900.9)],
  [(946.63,900),(946.63,900.9),(946.91,900.9),(946.91,900),(946.63,900)],
  [(946.58,900.9),(946.96,900.9),(946.96,900.62),(946.58,900.62),(946.58,900.9)],
  [(998.11,900),(998.11,900.34),(998.39,900.34),(998.39,900),(998.11,900)],
  [(998.06,900.34),(998.44,900.34),(998.44,900.06),(998.06,900.06),(998.06,900.34)],
  [(914.9,903.14),(915.28,903.14),(915.28,902.86),(914.9,902.86),(914.9,903.14)],
  [(914.95,903.37),(915.23,903.37),(915.23,902.63),(914.95,902.63),(914.95,903.37)],
  [(914.95,900.06),(914.95,903.14),(915.23,903.14),(915.23,900.06),(914.95,900.06)],
  [(914.9,900.34),(915.28,900.34),(915.28,900.06),(914.9,900.06),(914.9,900.34)],
  [(922.82,900.34),(923.2,900.34),(923.2,900.06),(922.82,900.06),(922.82,900.34)],
  [(922.87,900),(922.87,900.34),(923.15,900.34),(923.15,900),(922.87,900)],
  [(963.79,900.34),(986.51,900.34),(986.51,900.06),(963.79,900.06),(963.79,900.34)],
  [(963.79,900),(963.79,900.34),(964.07,900.34),(964.07,900),(963.79,900)],
  [(986.18,900.34),(986.56,900.34),(986.56,900.06),(986.18,900.06),(986.18,900.34)],
  [(1000,900.62),(951.25,900.62),(951.25,900.9),(1000,900.9),(1000,900.62)],
  [(951.2,900.9),(951.58,900.9),(951.58,900.62),(951.2,900.62),(951.2,900.9)],
  [(1000,900.06),(998.11,900.06),(998.11,900.34),(1000,900.34),(1000,900.06)],
  [(998.06,900.34),(998.44,900.34),(998.44,900.06),(998.06,900.06),(998.06,900.34)],
  [(914.95,900.34),(923.15,900.34),(923.15,900.06),(914.95,900.06),(914.95,900.34)],
  [(914.9,900.34),(915.28,900.34),(915.28,900.06),(914.9,900.06),(914.9,900.34)],
  [(922.82,900.34),(923.2,900.34),(923.2,900.06),(922.82,900.06),(922.82,900.34)],
  [(946.4,900.9),(947.14,900.9),(947.14,900.62),(946.4,900.62),(946.4,900.9)],
  [(946.58,900.9),(946.96,900.9),(946.96,900.62),(946.58,900.62),(946.58,900.9)],
  [(986.23,900),(986.23,903.14),(986.51,903.14),(986.51,900),(986.23,900)],
  [(986.18,903.14),(986.56,903.14),(986.56,902.86),(986.18,902.86),(986.18,903.14)],
  [(946.63,900.62),(946.63,912.1),(946.91,912.1),(946.91,900.62),(946.63,900.62)],
  [(946.58,900.9),(946.96,900.9),(946.96,900.62),(946.58,900.62),(946.58,900.9)],
  [(946.58,912.1),(946.96,912.1),(946.96,911.82),(946.58,911.82),(946.58,912.1)])

lib.write_gds('3.gds')
